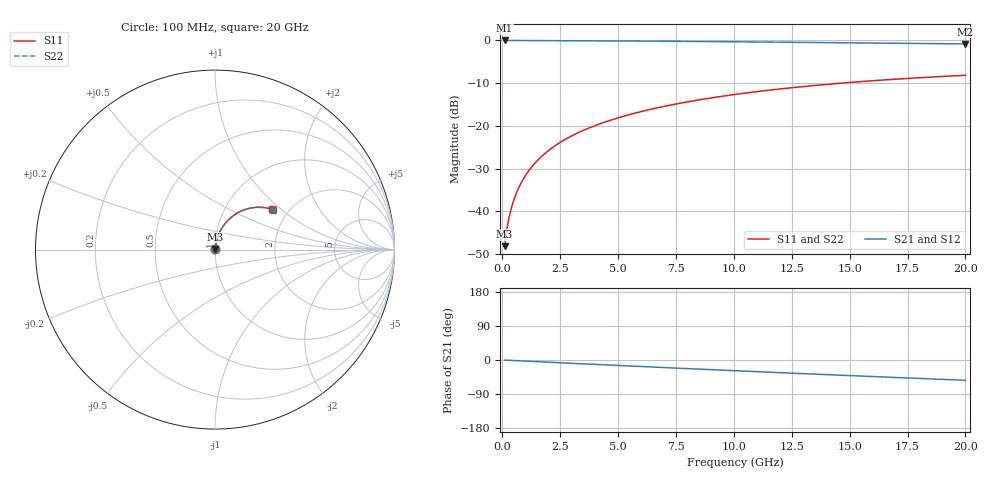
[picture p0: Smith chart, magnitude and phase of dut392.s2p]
! Touchstone file exported from HFSS 2026.1.0
!  File:  C:/ffzhzh/LocalFiles/Ansys_Project_Files/temp_train_TMRDL_392_1783004747_55676.aedt
!  Generated:  11:07:20 PM Jul  2, 2026
!  Design:  TMRDL
!  Project:  temp_train_TMRDL_392_1783004747_55676
! Variables:
!  h_bsmrdl = 2um
!  h_ox = 20um
!  h_rdl = 5um
!  h_sub = 80um
!  h_tmrdl = 4.92um
!  h_tsv = 80um
!  h_via = 3um
!  l_bsmrdl = 300um
!  l_sub = 1258.51um
!  l_tmrdl = 858.51um
!  m_sub = 200um
!  pitch = 48.62um
!  r_tsv = 6um
!  s_tmrdl = 10um
!  w_bsmrdl = 18um
!  w_sub = 500um
!  w_tmrdl = 25.37um
!  x_tsv_center1 = 871.195um
!  x_tsv_center2 = 1189.195um
!  x_tsv_center3 = 2073.075um
!  x_tsv_center4 = 2391.075um
!  x_tsv_center5 = 3274.955um
!  x_tsv_center6 = 3592.955um
# GHz S MA R 50.000000
! Terminal data exported
! Port[1] = TM_RDL1_1_T1
! Port[2] = TM_RDL1_1_T2
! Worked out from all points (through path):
!   200 points, 100 MHz to 20 GHz, reference 50 ohm
!   highest |S21| = -0.02 dB at 100 MHz (marker M1); lowest = -0.8 dB at 20 GHz (marker M2)
!   group delay of S21, straight-line fit = 7.43 ps
!   lowest |S11| = -48.1 dB at 100 MHz (marker M3), VSWR 1.01, Z = 50.3 + j0.289 ohm
!   |S11| at or under -10 dB: start of sweep to 14.66 GHz
!   |S22| runs from -48.1 to -8.2 dB; largest |S21 - S12| = 2.4e-14
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0.1  0.003923 47.0  0.9973 -0.3  0.9973 -0.3  0.003923 47.0
! Gamma 0 0 0 0
! Port Impedance 50 0 50 0
0.2  0.006278 62.1  0.9971 -0.6  0.9971 -0.6  0.006278 62.1
0.3  0.008709 68.6  0.9969 -0.9  0.9969 -0.9  0.008709 68.6
0.4  0.01116 72.3  0.9968 -1.2  0.9968 -1.2  0.01116 72.3
0.5  0.01364 74.8  0.9967 -1.5  0.9967 -1.5  0.01364 74.7
0.6  0.01614 76.4  0.9966 -1.8  0.9966 -1.8  0.01614 76.4
0.8  0.02119 78.3  0.9964 -2.4  0.9964 -2.4  0.02119 78.3
1.1  0.02881 79.6  0.996 -3.2  0.996 -3.2  0.02881 79.6
1.5  0.03897 79.9  0.9954 -4.4  0.9954 -4.4  0.03897 79.9
1.8  0.04655 79.7  0.9948 -5.3  0.9948 -5.3  0.04656 79.7
2.1  0.0541 79.3  0.9942 -6.2  0.9942 -6.2  0.0541 79.2
2.7  0.06904 78.1  0.9927 -7.9  0.9927 -7.9  0.06904 78.0
3.5  0.08861 76.2  0.9904 -10.2  0.9904 -10.2  0.08861 76.1
4.2  0.1054 74.4  0.9881 -12.2  0.9881 -12.2  0.1054 74.4
5  0.1242 72.3  0.9853 -14.4  0.9853 -14.4  0.1242 72.3
5.9  0.1448 70.0  0.9818 -17.0  0.9818 -17.0  0.1448 70.0
6.8  0.1649 67.7  0.978 -19.4  0.978 -19.4  0.1649 67.6
8.3  0.1973 63.8  0.9712 -23.6  0.9712 -23.6  0.1973 63.7
10.1  0.2341 59.2  0.9622 -28.4  0.9622 -28.4  0.2341 59.1
13.4  0.2952 50.9  0.9444 -37.1  0.9444 -37.1  0.2952 50.8
16.7  0.3475 42.8  0.926 -45.5  0.926 -45.5  0.3475 42.6
20  0.3906 34.9  0.9085 -53.5  0.9085 -53.5  0.3907 34.8
